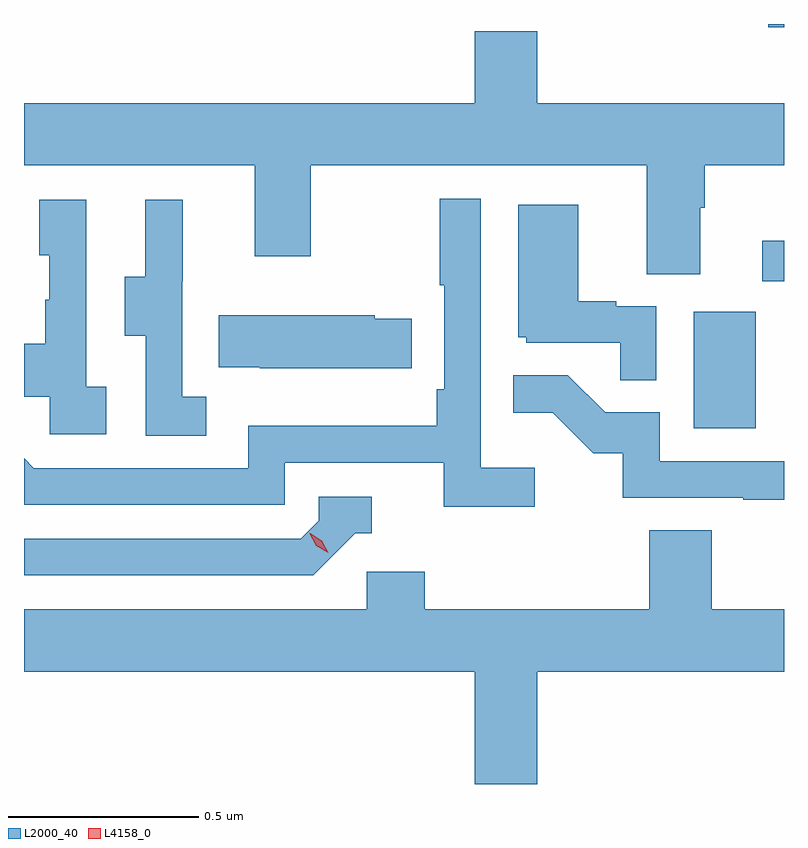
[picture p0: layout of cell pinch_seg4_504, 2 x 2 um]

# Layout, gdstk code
import gdstk
lib = gdstk.Library(unit=1e-6, precision=1e-09)
def R(c, l, rs):  # rectangles x0, y0, x1, y1
    for r in rs: c.add(gdstk.rectangle(r[:2], r[2:], *l))
def P(c, l, *ps):  # polygons
    for p in ps: c.add(gdstk.Polygon(p, *l))
L2000_40 = (2000, 40)
L4158_0 = (4158, 0)

pinch_seg4_504 = lib.new_cell('pinch_seg4_504')
R(pinch_seg4_504, L2000_40, [(896.852,752.172,897.016,752.479), (897.033,752.559,897.09,752.665), (897.049,753.228,897.09,753.236)])
P(pinch_seg4_504, L2000_40, [(896.869,752.752),(896.882,752.752),(896.882,752.864),(897.09,752.864),(897.09,753.028),(896.44,753.028),(896.44,753.217),(896.276,753.217),(896.276,753.028),(895.09,753.028),(895.09,752.864),(895.697,752.864),(895.697,752.625),(895.845,752.625),(895.845,752.864),(896.729,752.864),(896.729,752.578),(896.869,752.578)],
  [(896.434,752.068),(896.292,752.068),(896.292,752.776),(896.184,752.776),(896.184,752.548),(896.196,752.548),(896.196,752.275),(896.176,752.275),(896.176,752.179),(895.68,752.179),(895.68,752.067),(895.116,752.067),(895.09,752.093),(895.09,751.971),(895.776,751.971),(895.776,752.082),(896.195,752.082),(896.195,751.966),(896.434,751.966)],
  [(895.306,752.282),(895.254,752.282),(895.254,752.773),(895.13,752.773),(895.13,752.628),(895.156,752.628),(895.156,752.51),(895.146,752.51),(895.146,752.395),(895.09,752.395),(895.09,752.255),(895.158,752.255),(895.158,752.157),(895.306,752.157)],
  [(895.57,752.255),(895.506,752.255),(895.506,752.559),(895.508,752.559),(895.508,752.773),(895.409,752.773),(895.409,752.571),(895.355,752.571),(895.355,752.416),(895.41,752.416),(895.41,752.152),(895.57,752.152)],
  [(896.754,752.493),(896.648,752.493),(896.648,752.506),(896.548,752.506),(896.548,752.761),(896.39,752.761),(896.39,752.412),(896.412,752.412),(896.412,752.397),(896.659,752.397),(896.659,752.299),(896.754,752.299)],
  [(896.111,752.46),(896.013,752.46),(896.013,752.47),(895.603,752.47),(895.603,752.333),(895.711,752.333),(895.711,752.33),(896.111,752.33)],
  [(897.09,752.085),(896.763,752.085),(896.763,752.214),(896.619,752.214),(896.521,752.312),(896.377,752.312),(896.377,752.213),(896.481,752.213),(896.588,752.106),(896.665,752.106),(896.665,751.989),(896.983,751.989),(896.983,751.984),(897.09,751.984)],
  [(895.962,751.896),(896.005,751.896),(896.005,751.992),(895.866,751.992),(895.866,751.929),(895.818,751.881),(895.09,751.881),(895.09,751.785),(895.851,751.785)],
  [(896.44,751.532),(897.09,751.532),(897.09,751.696),(896.9,751.696),(896.9,751.904),(896.735,751.904),(896.735,751.696),(896.144,751.696),(896.144,751.794),(895.992,751.794),(895.992,751.696),(895.09,751.696),(895.09,751.532),(896.276,751.532),(896.276,751.236),(896.44,751.236)])
P(pinch_seg4_504, L4158_0, [(895.89,751.844),(895.859,751.863),(895.842,751.895),(895.842,751.896),(895.843,751.896),(895.874,751.876),(895.89,751.844),(895.89,751.844)])

lib.write_gds('pinch_seg4_504.gds')
